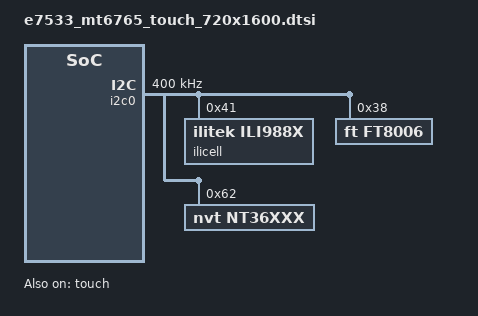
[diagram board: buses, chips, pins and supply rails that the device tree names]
// SPDX-License-Identifier: GPL-2.0+
/*
 * Copyright (c) 2019 MediaTek Inc.
 *
 */

/* TOUCH start */
&i2c0 {
	clock-frequency = <400000>;
	pinctrl-names = "default", "ts_int_active",
		"ts_reset_active", "ts_int_suspend",
		"ts_reset_suspend", "ts_i2c_mode",
		"ts_eint_high";
	pinctrl-0 = <&ctp_pins_default>;
	pinctrl-1 = <&ctp_ts_int_active>;
	pinctrl-2 = <&ctp_ts_reset_active>;
	pinctrl-3 = <&ctp_ts_int_suspend>;
	pinctrl-4 = <&ctp_ts_reset_suspend>;
	pinctrl-5 = <&ctp_ts_i2c_mode>;
	pinctrl-6 = <&ctp_ts_int_as_gpio>;

        ilicell@41 {
                compatible = "ilitek,ili988x";
                reg = <0x41>;
		status = "okay";
	};
        ft8006@38 {
                compatible = "ft,ft8006";
                reg = <0x38>;
		status = "okay";
	};
	nt36xxx@62 {
		compatible = "nvt,nt36xxx";
		reg = <0x62>;
		status = "okay";
	};
};

&touch {
	tpd-resolution = <720 1600>;
	lcm-resolution = <720 1600>;
        tpd-max-touch-num = <5>;
	interrupt-parent = <&pio>;
	interrupts = <20 IRQ_TYPE_EDGE_FALLING 0 0>;
	tpd,eint-gpio = <&pio 20 0x0>;
	tpd,reset-gpio = <&pio 174 0x0>;
	vtouch-supply = <&mt_pmic_vldo28_ldo_reg>;

	tpd-filter-enable = <1>;
	tpd-filter-pixel-density = <146>;
        tpd-filter-custom-prameters = <0 0 0 0 0 0 0 0 0 0 0 0>;
	tpd-filter-custom-speed = <0 0 0>;

        use-tpd-button = <0>;
        tpd-key-num = <3>;
        tpd-key-local= <139 172 158 0>;
        tpd-key-dim-local = <90 883 100 40 230
                                 883 100 40 370 883 100 40 0 0 0 0>;
        status = "okay";

};

&pio {
	ctp_pins_default: eintdefault {
	};
	ctp_ts_int_active: int_active {
		pins_cmd_dat {
			pinmux = <PINMUX_GPIO20__FUNC_GPIO20>;
			input-enable;
			bias-pill-up = <MTK_PUPD_SET_R1R0_11>;
		};
	};
	ctp_ts_reset_active: reset_active {
		pins_cmd_dat {
			pinmux = <PINMUX_GPIO174__FUNC_GPIO174>;
			slew-rate = <1>;
			output-high;
		};
	};
	ctp_ts_int_suspend: int_suspend {
		pins_cmd_dat {
			pinmux = <PINMUX_GPIO20__FUNC_GPIO20>;
			slew-rate = <1>;
			output-low;
		};
	};
	ctp_ts_reset_suspend: reset_suspend {
		pins_cmd_dat {
			pinmux = <PINMUX_GPIO174__FUNC_GPIO174>;
			slew-rate = <1>;
			output-low;
		};
	};
	ctp_ts_i2c_mode: i2cmode_default {
		pins_cmd_dat {
			pinmux = <PINMUX_GPIO83__FUNC_SCL0>,
				<PINMUX_GPIO82__FUNC_SDA0>;
		};
	};
	ctp_ts_int_as_gpio: int_high {
		pins_cmd_dat {
			pinmux = <PINMUX_GPIO20__FUNC_GPIO20>;
			slew-rate = <1>;
			output-high;
		};
	};
};
/* TOUCH end */
